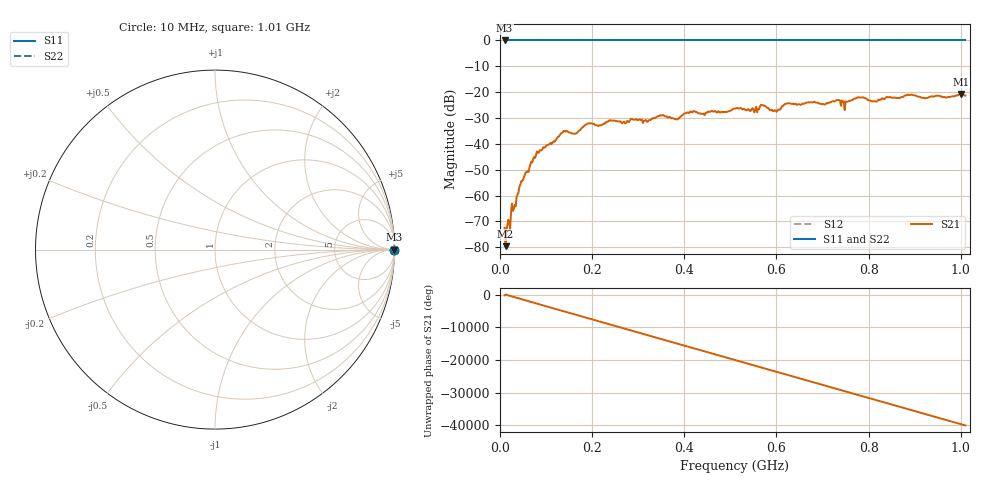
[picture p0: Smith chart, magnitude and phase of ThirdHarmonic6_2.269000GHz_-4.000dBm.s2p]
! 8/17/2025 2:51:21 AM
! C:\ANRITSUVNA\TEMP\TEMP.S2P
! CHANNEL.1
! TR.MEASUREMENT
! RAW.DATA
! RF.CORRECTION.OFF
! AVERAGING.OFF
! IF.BANDWIDTH: 5KHZ
! SWEEPTYPE:  FREQ.SWEEP(Linear)
! Reference Plane Port Info
! PORT:  PORT1  PORT2
! DISTANCE:  0  m  0  m
! TIME:  0  s  0  s
! PHASE.OFFSET:  0  deg.  0  deg.
! LOSS:  0  dB  0  dB
! REF.LOSS:  0  dB  0  dB
! REF.FREQ:  0  Hz  0  Hz
! Power Info
! POWER:  -20  dBm  -20  dBm
! EFF.POWER:  -20  dBm  -20  dBm
! SOURCE.ATTEN:  0  dB  0  dB
! TEST.ATTEN:  0  dB  0  dB
# GHZ S RI R 50.0
! FREQ.GHZ  S11RE  S11IM  S21RE  S21IM  S12RE  S12IM  S22RE  S22IM
!; PortSelection: Port_12
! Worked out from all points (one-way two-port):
!   501 points, 10 MHz to 1.01 GHz, reference 50 ohm
!   highest |S21| = -20.70 dB at 1 GHz (marker M1); lowest = -79.6 dB at 12 MHz (marker M2)
!   lowest |S11| = 0.0 dB at 10 MHz (marker M3)
!   |S11| at or under -10 dB: nowhere
!   |S22| runs from 0.0 to 0.0 dB; largest |S21 - S12| = 1.1
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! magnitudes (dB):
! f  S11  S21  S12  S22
! 10 MHz  0.0  -72.4  0.0  0.0
! 12 MHz  0.0  -79.6  0.0  0.0
! 46 MHz  0.0  -54.5  0.0  0.0
! 78 MHz  0.0  -44.5  0.0  0.0
! 136 MHz  0.0  -35.6  0.0  0.0
! 162 MHz  0.0  -36.1  0.0  0.0
! 178 MHz  0.0  -33.7  0.0  0.0
! 344 MHz  0.0  -29.3  0.0  0.0
! 384 MHz  0.0  -30.5  0.0  0.0
! 416 MHz  0.0  -27.7  0.0  0.0
! 510 MHz  0.0  -26.4  0.0  0.0
! 556 MHz  0.0  -25.6  0.0  0.0
! 570 MHz  0.0  -25.0  0.0  0.0
! 596 MHz  0.0  -27.0  0.0  0.0
! 622 MHz  0.0  -24.4  0.0  0.0
! 678 MHz  0.0  -24.0  0.0  0.0
! 744 MHz  0.0  -23.6  0.0  0.0
! 778 MHz  0.0  -22.0  0.0  0.0
! 814 MHz  0.0  -23.5  0.0  0.0
! 844 MHz  0.0  -22.0  0.0  0.0
! 1 GHz  0.0  -20.7  0.0  0.0
! 1.01 GHz  0.0  -21.3  0.0  0.0
